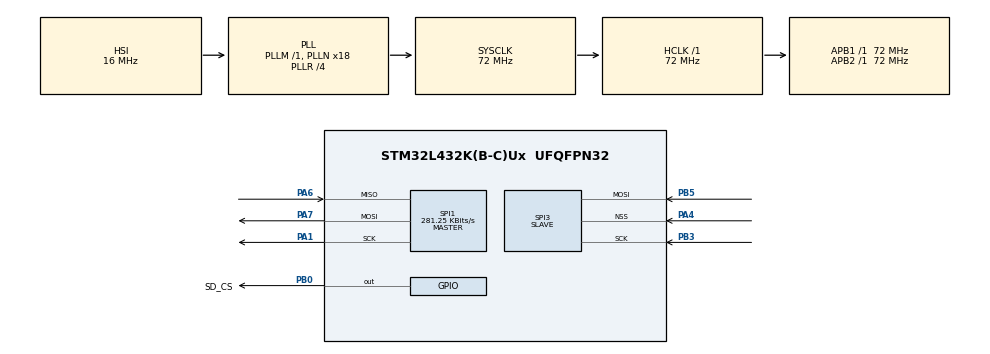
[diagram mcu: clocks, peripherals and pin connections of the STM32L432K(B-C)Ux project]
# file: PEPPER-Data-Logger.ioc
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FATFS._MAX_SS=512
FATFS._USE_LFN=1
Mcu.Family=STM32L4
Mcu.Name=STM32L432K(B-C)Ux
Mcu.Package=UFQFPN32
NVIC.PriorityGroup=NVIC_PRIORITYGROUP_4
PA0.GPIO_Label=MCO [High speed clock in]
PA0.Mode=HSE-External-Clock-Source-for-LittleOrca
PA0.Signal=RCC_CK_IN
PA1.Mode=Full_Duplex_Master
PA1.Signal=SPI1_SCK
PA13\ (JTMS-SWDIO).GPIO_Label=SWDIO
PA13\ (JTMS-SWDIO).Mode=Serial_Wire
PA13\ (JTMS-SWDIO).Signal=SYS_JTMS-SWDIO
PA14\ (JTCK-SWCLK).GPIO_Label=SWCLK
PA14\ (JTCK-SWCLK).Mode=Serial_Wire
PA14\ (JTCK-SWCLK).Signal=SYS_JTCK-SWCLK
PA4.Mode=NSS_Signal_Hard_Input
PA4.Signal=SPI3_NSS
PA6.Mode=Full_Duplex_Master
PA6.Signal=SPI1_MISO
PA7.Mode=Full_Duplex_Master
PA7.Signal=SPI1_MOSI
PB0.GPIO_Label=SD_CS
PB0.Signal=GPIO_Output
PB3\ (JTDO-TRACESWO).Mode=RX_Only_Simplex_Unidirect_Slave
PB3\ (JTDO-TRACESWO).Signal=SPI3_SCK
PB5.Mode=RX_Only_Simplex_Unidirect_Slave
PB5.Signal=SPI3_MOSI
PC14-OSC32_IN\ (PC14).Mode=LSE-External-Oscillator
PC14-OSC32_IN\ (PC14).Signal=RCC_OSC32_IN
PC15-OSC32_OUT\ (PC15).Mode=LSE-External-Oscillator
PC15-OSC32_OUT\ (PC15).Signal=RCC_OSC32_OUT
ProjectManager.HeapSize=0x200
ProjectManager.StackSize=0x400
ProjectManager.TargetToolchain=STM32CubeIDE
RCC.ADCFreq_Value=64000000
RCC.AHBFreq_Value=72000000
RCC.APB1Freq_Value=72000000
RCC.APB1TimFreq_Value=72000000
RCC.APB2Freq_Value=72000000
RCC.APB2TimFreq_Value=72000000
RCC.CortexFreq_Value=72000000
RCC.HCLKFreq_Value=72000000
RCC.HSE_VALUE=8000000
RCC.HSI16_VALUE=16000000
RCC.HSI48_VALUE=48000000
RCC.HSI_VALUE=16000000
RCC.MSI_VALUE=4000000
RCC.PLLMUL=RCC_PLLMUL_4
RCC.PLLN=18
RCC.PLLR=RCC_PLLR_DIV4
RCC.PLLSourceVirtual=RCC_PLLSOURCE_HSI
RCC.SYSCLKFreq_VALUE=72000000
RCC.SYSCLKSource=RCC_SYSCLKSOURCE_PLLCLK
RCC.USBFreq_Value=64000000
RCC.VCOOutputFreq_Value=288000000
SPI1.BaudRatePrescaler=SPI_BAUDRATEPRESCALER_256
SPI1.CalculateBaudRate=281.25 KBits/s
SPI1.DataSize=SPI_DATASIZE_8BIT
SPI1.Direction=SPI_DIRECTION_2LINES
SPI1.Mode=SPI_MODE_MASTER
SPI1.VirtualType=VM_MASTER
SPI3.DataSize=SPI_DATASIZE_8BIT
SPI3.Direction=SPI_DIRECTION_2LINES_RXONLY
SPI3.Mode=SPI_MODE_SLAVE
SPI3.VirtualNSS=VM_NSSHARD
SPI3.VirtualType=VM_SLAVE
VP_FATFS_VS_Generic.Mode=User_defined
board=NUCLEO-L432KC

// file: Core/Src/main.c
/* USER CODE BEGIN Header */
/**
 ******************************************************************************
 * @file           : main.c
 * @brief          : Main program body
 ******************************************************************************
 * @attention
 *
 * Copyright (c) 2024 STMicroelectronics.
 * All rights reserved.
 *
 * This software is licensed under terms that can be found in the LICENSE file
 * in the root directory of this software component.
 * If no LICENSE file comes with this software, it is provided AS-IS.
 *
 ******************************************************************************
 */
/* USER CODE END Header */
#include "main.h"
#include "fatfs.h"

/* USER CODE BEGIN Includes */
#include <stdio.h>
#include <string.h>
#include <stdarg.h>
#include <stdbool.h>
/* USER CODE END Includes */

/* USER CODE BEGIN PD */
#define DATA_FILE_RING_NUMBER    100 // files
#define MAG_DATA_RATE            120000 // 32-bit words/s (24 valid and 8 zeros)
#define MAG_DATA_BYTES_PER_SEC   (MAG_DATA_RATE * 4) // 480000 bytes
#define MAG_DATA_BUFFER_LEN      (MAG_DATA_BYTES_PER_SEC / 40) // 1/10 s of data
#define MAG_DATA_SECS_PER_FILE   10

/* USER CODE END PD */

SPI_HandleTypeDef hspi1;
SPI_HandleTypeDef hspi3;

void SystemClock_Config(void);
static void MX_GPIO_Init(void);
static void MX_SPI1_Init(void);
static void MX_SPI3_Init(void);
/* USER CODE BEGIN PFP */
//void myprintf(const char *fmt, ...);
/* USER CODE END PFP */

int main(void)
{

	/* MCU Configuration--------------------------------------------------------*/

	/* Reset of all peripherals, Initializes the Flash interface and the Systick. */
	HAL_Init();

	/* Configure the system clock */
	SystemClock_Config();

	/* Initialize all configured peripherals */
	MX_GPIO_Init();
	MX_SPI1_Init();
	MX_FATFS_Init();
	MX_SPI3_Init();
	/* USER CODE BEGIN 2 */
	//	HAL_Delay(500);

	// File stuff
	FATFS FatFs;
	FIL fil;
	FRESULT fres;
	FILINFO finfo;
	UINT bytesSaved;
	uint16_t currentFileNumber;
	char filename[32];

	// For checking execution timing
	uint32_t start_ms, diff_ms;

	// Mount the SD Card
	fres = f_mount(&FatFs, "", 1);
	if (fres != FR_OK) {
		while (1);
	}

	// At the start check that the files exist. It's much faster to open and truncate
	// a file compared to creating it new, so we will create them ahead of time if
	// necessary.
	//
	// Note, file numbering starts at 1, so the file numbers are in [1,100]

	bool filesExist = true;
	for (currentFileNumber = 1; currentFileNumber < 5; currentFileNumber++) {
		sprintf(filename,"PEPPER_MAG_%03d.bin",currentFileNumber);
		fres = f_stat(filename, &finfo);
		switch (fres) {
		case FR_OK:
			break;
		case FR_NO_FILE:
			filesExist = false;
			break;
		case FR_NO_PATH:
			// Should really do something here
			break;
		default:
			// Should really do something here
			break;
		}
	}

	// If they don't exist, create them
	if (!filesExist) {
		start_ms = HAL_GetTick();

		for (currentFileNumber = 1; currentFileNumber <= DATA_FILE_RING_NUMBER; currentFileNumber++) {
			sprintf(filename,"PEPPER_MAG_%03d.bin",currentFileNumber);
			fres = f_open(&fil, filename, FA_WRITE | FA_OPEN_ALWAYS | FA_CREATE_ALWAYS);
			if (fres != FR_OK) {
				// Should really do something here
			}
			// Close file
			f_close(&fil);
		}
	}

	//
	// FPGA outputs 4 byte samples at 120 kHz, so 360,000 bytes/s.
	// Each 4-byte group contains 24 bits from the PEPPER ADC.
	// These are in the first 3 bytes of the group; the last byte
	// is always 0x00.
	//
	//

	currentFileNumber = 1; // start file numbering at 1

	uint8_t magSamples[MAG_DATA_BUFFER_LEN];

	uint32_t numBuffers10s = MAG_DATA_BYTES_PER_SEC / MAG_DATA_BUFFER_LEN * 10;

	/* USER CODE END 2 */

	/* Infinite loop */
	/* USER CODE BEGIN WHILE */
	while (1)
	{
		// In the main loop we keep receiving data from the FPGA and
		// saving it until power goes away. The data is saved in a
		// "ring" of files so that storage will never fill completely

		start_ms = HAL_GetTick();

		sprintf(filename,"PEPPER_MAG_%03d.bin",currentFileNumber);

		fres = f_open(&fil, filename, FA_WRITE /*| FA_OPEN_ALWAYS*/ | FA_CREATE_ALWAYS);
		if (fres == FR_OK) {
			// Write the current time in ms to the start of the file
			uint32_t currentTime = HAL_GetTick();
			fres = f_write(&fil, &currentTime, sizeof(uint32_t), &bytesSaved);
			if (fres == FR_OK) {
				for (int bufferCount = 0; bufferCount < numBuffers10s; bufferCount++) {
					// receive a buffer of mag data
					HAL_SPI_Receive(&hspi3, magSamples, MAG_DATA_BUFFER_LEN, 100);
					// write the buffer to file
					fres = f_write(&fil, magSamples, MAG_DATA_BUFFER_LEN, &bytesSaved);
					if (fres != FR_OK) {
						// Should really do something here...
					}
				}
			}
		}

		// Close file
		f_close(&fil);

		diff_ms = HAL_GetTick() - start_ms;

		// Increment the file counter
		currentFileNumber += 1;
		if (currentFileNumber > DATA_FILE_RING_NUMBER) currentFileNumber = 1;

		/* USER CODE END WHILE */

	}
}

void SystemClock_Config(void)
{
	RCC_OscInitTypeDef RCC_OscInitStruct = {0};
	RCC_ClkInitTypeDef RCC_ClkInitStruct = {0};

	/** Configure the main internal regulator output voltage
	 */
	if (HAL_PWREx_ControlVoltageScaling(PWR_REGULATOR_VOLTAGE_SCALE1) != HAL_OK)
	{
		Error_Handler();
	}

	/** Initializes the RCC Oscillators according to the specified parameters
	 * in the RCC_OscInitTypeDef structure.
	 */
	RCC_OscInitStruct.OscillatorType = RCC_OSCILLATORTYPE_HSI;
	RCC_OscInitStruct.HSIState = RCC_HSI_ON;
	RCC_OscInitStruct.HSICalibrationValue = RCC_HSICALIBRATION_DEFAULT;
	RCC_OscInitStruct.PLL.PLLState = RCC_PLL_ON;
	RCC_OscInitStruct.PLL.PLLSource = RCC_PLLSOURCE_HSI;
	RCC_OscInitStruct.PLL.PLLM = 1;
	RCC_OscInitStruct.PLL.PLLN = 18;
	RCC_OscInitStruct.PLL.PLLP = RCC_PLLP_DIV7;
	RCC_OscInitStruct.PLL.PLLQ = RCC_PLLQ_DIV2;
	RCC_OscInitStruct.PLL.PLLR = RCC_PLLR_DIV4;
	if (HAL_RCC_OscConfig(&RCC_OscInitStruct) != HAL_OK)
	{
		Error_Handler();
	}

	/** Initializes the CPU, AHB and APB buses clocks
	 */
	RCC_ClkInitStruct.ClockType = RCC_CLOCKTYPE_HCLK|RCC_CLOCKTYPE_SYSCLK
			|RCC_CLOCKTYPE_PCLK1|RCC_CLOCKTYPE_PCLK2;
	RCC_ClkInitStruct.SYSCLKSource = RCC_SYSCLKSOURCE_PLLCLK;
	RCC_ClkInitStruct.AHBCLKDivider = RCC_SYSCLK_DIV1;
	RCC_ClkInitStruct.APB1CLKDivider = RCC_HCLK_DIV1;
	RCC_ClkInitStruct.APB2CLKDivider = RCC_HCLK_DIV1;

	if (HAL_RCC_ClockConfig(&RCC_ClkInitStruct, FLASH_LATENCY_4) != HAL_OK)
	{
		Error_Handler();
	}
}

static void MX_SPI1_Init(void)
{

	/* SPI1 parameter configuration*/
	hspi1.Instance = SPI1;
	hspi1.Init.Mode = SPI_MODE_MASTER;
	hspi1.Init.Direction = SPI_DIRECTION_2LINES;
	hspi1.Init.DataSize = SPI_DATASIZE_8BIT;
	hspi1.Init.CLKPolarity = SPI_POLARITY_LOW;
	hspi1.Init.CLKPhase = SPI_PHASE_1EDGE;
	hspi1.Init.NSS = SPI_NSS_SOFT;
	hspi1.Init.BaudRatePrescaler = SPI_BAUDRATEPRESCALER_256;
	hspi1.Init.FirstBit = SPI_FIRSTBIT_MSB;
	hspi1.Init.TIMode = SPI_TIMODE_DISABLE;
	hspi1.Init.CRCCalculation = SPI_CRCCALCULATION_DISABLE;
	hspi1.Init.CRCPolynomial = 7;
	hspi1.Init.CRCLength = SPI_CRC_LENGTH_DATASIZE;
	hspi1.Init.NSSPMode = SPI_NSS_PULSE_ENABLE;
	if (HAL_SPI_Init(&hspi1) != HAL_OK)
	{
		Error_Handler();
	}

}

static void MX_SPI3_Init(void)
{

	/* SPI3 parameter configuration*/
	hspi3.Instance = SPI3;
	hspi3.Init.Mode = SPI_MODE_SLAVE;
	hspi3.Init.Direction = SPI_DIRECTION_2LINES_RXONLY;
	hspi3.Init.DataSize = SPI_DATASIZE_8BIT;
	hspi3.Init.CLKPolarity = SPI_POLARITY_LOW;
	hspi3.Init.CLKPhase = SPI_PHASE_1EDGE;
	hspi3.Init.NSS = SPI_NSS_HARD_INPUT;
	hspi3.Init.FirstBit = SPI_FIRSTBIT_MSB;
	hspi3.Init.TIMode = SPI_TIMODE_DISABLE;
	hspi3.Init.CRCCalculation = SPI_CRCCALCULATION_DISABLE;
	hspi3.Init.CRCPolynomial = 7;
	hspi3.Init.CRCLength = SPI_CRC_LENGTH_DATASIZE;
	hspi3.Init.NSSPMode = SPI_NSS_PULSE_DISABLE;
	if (HAL_SPI_Init(&hspi3) != HAL_OK)
	{
		Error_Handler();
	}

}

static void MX_GPIO_Init(void)
{
	GPIO_InitTypeDef GPIO_InitStruct = {0};

	/* GPIO Ports Clock Enable */
	__HAL_RCC_GPIOC_CLK_ENABLE();
	__HAL_RCC_GPIOA_CLK_ENABLE();
	__HAL_RCC_GPIOB_CLK_ENABLE();

	/*Configure GPIO pin Output Level */
	HAL_GPIO_WritePin(SD_CS_GPIO_Port, SD_CS_Pin, GPIO_PIN_RESET);

	/*Configure GPIO pin : SD_CS_Pin */
	GPIO_InitStruct.Pin = SD_CS_Pin;
	GPIO_InitStruct.Mode = GPIO_MODE_OUTPUT_PP;
	GPIO_InitStruct.Pull = GPIO_NOPULL;
	GPIO_InitStruct.Speed = GPIO_SPEED_FREQ_LOW;
	HAL_GPIO_Init(SD_CS_GPIO_Port, &GPIO_InitStruct);

}

void Error_Handler(void)
{
	__disable_irq();
	while (1)
	{
	}
}
